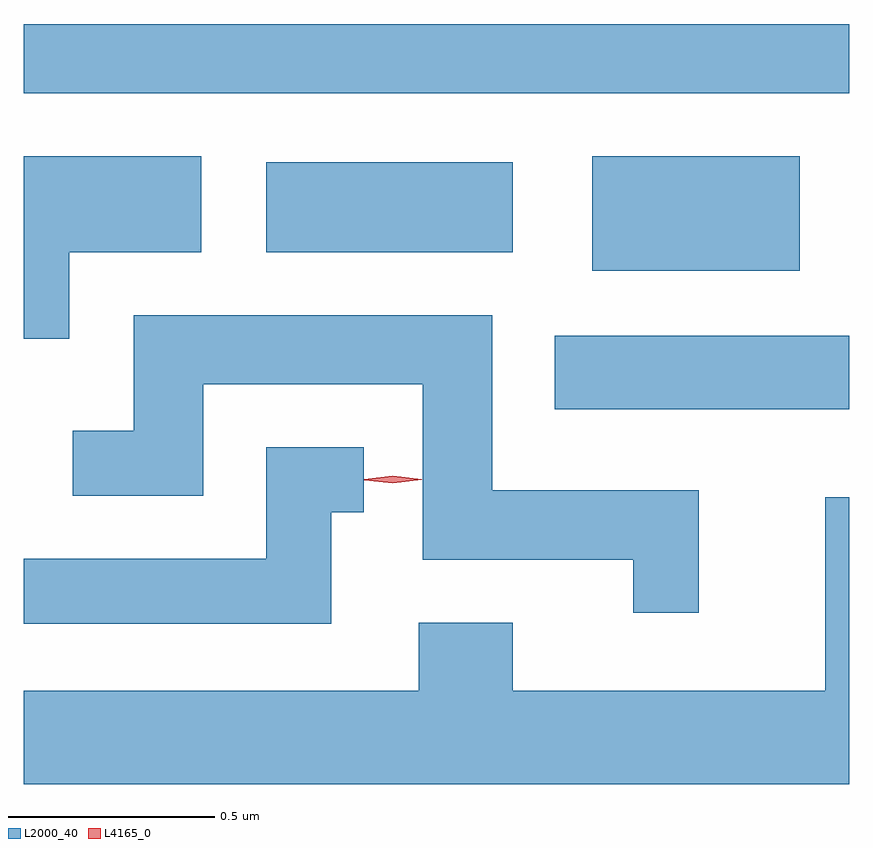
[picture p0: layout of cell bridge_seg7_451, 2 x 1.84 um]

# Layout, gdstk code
import gdstk
lib = gdstk.Library(unit=1e-6, precision=1e-09)
def R(c, l, rs):  # rectangles x0, y0, x1, y1
    for r in rs: c.add(gdstk.rectangle(r[:2], r[2:], *l))
def P(c, l, *ps):  # polygons
    for p in ps: c.add(gdstk.Polygon(p, *l))
L2000_40 = (2000, 40)
L4165_0 = (4165, 0)

bridge_seg7_451 = lib.new_cell('bridge_seg7_451')
R(bridge_seg7_451, L2000_40, [(1231.661,1697.506,1232.374,1697.684), (1231.751,1697.841,1232.254,1698.119), (1230.961,1697.886,1231.559,1698.104), (1230.374,1698.271,1232.374,1698.439)])
P(bridge_seg7_451, L2000_40, [(1230.484,1697.886),(1230.804,1697.886),(1230.804,1698.119),(1230.374,1698.119),(1230.374,1697.676),(1230.484,1697.676)],
  [(1232.009,1697.309),(1231.509,1697.309),(1231.509,1697.734),(1230.641,1697.734),(1230.641,1697.454),(1230.493,1697.454),(1230.493,1697.296),(1230.809,1697.296),(1230.809,1697.566),(1231.341,1697.566),(1231.341,1697.141),(1231.851,1697.141),(1231.851,1697.013),(1232.009,1697.013)],
  [(1231.119,1697.256),(1231.198,1697.256),(1231.198,1697.414),(1230.961,1697.414),(1230.961,1697.144),(1230.374,1697.144),(1230.374,1696.986),(1231.119,1696.986)],
  [(1232.374,1697.293),(1232.316,1697.293),(1232.316,1696.824),(1231.559,1696.824),(1231.559,1696.989),(1231.331,1696.989),(1231.331,1696.824),(1230.374,1696.824),(1230.374,1696.598),(1232.374,1696.598)])
P(bridge_seg7_451, L4165_0, [(1231.268,1697.326),(1231.199,1697.334),(1231.199,1697.335),(1231.199,1697.336),(1231.268,1697.345),(1231.338,1697.336),(1231.338,1697.336),(1231.338,1697.335)])

lib.write_gds('bridge_seg7_451.gds')
